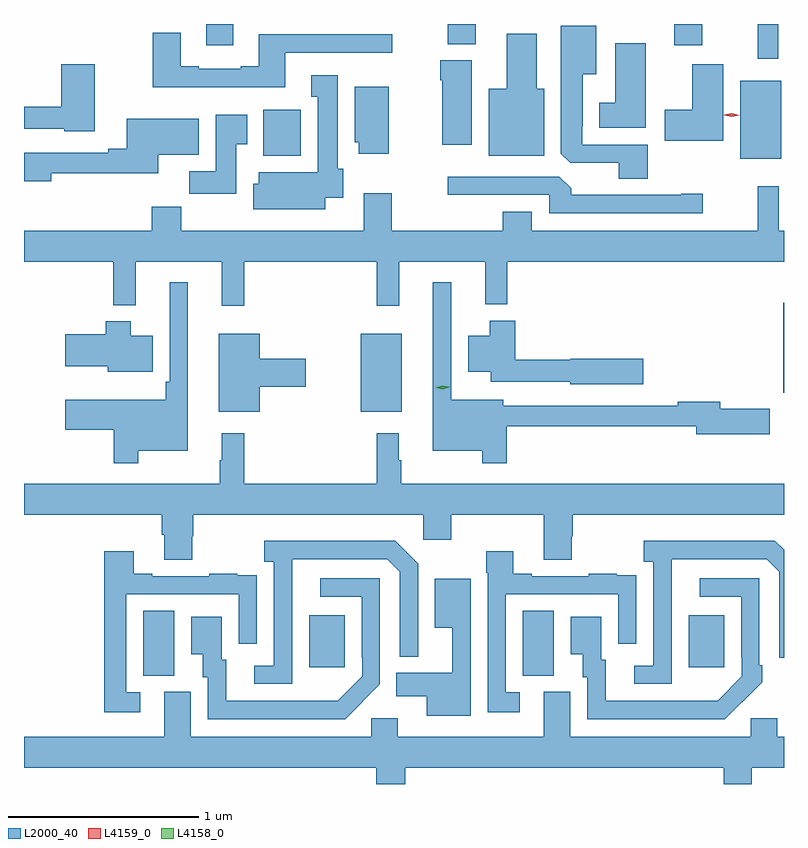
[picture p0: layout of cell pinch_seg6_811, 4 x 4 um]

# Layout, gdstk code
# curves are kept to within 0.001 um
import gdstk
lib = gdstk.Library(unit=1e-6, precision=1e-09)
def R(c, l, rs):  # rectangles x0, y0, x1, y1
    for r in rs: c.add(gdstk.rectangle(r[:2], r[2:], *l))
def P(c, l, *ps):  # polygons
    for p in ps: c.add(gdstk.Polygon(p, *l))
L2000_40 = (2000, 40)
L4158_0 = (4158, 0)
L4159_0 = (4159, 0)

pinch_seg6_811 = lib.new_cell('pinch_seg6_811')
R(pinch_seg6_811, L2000_40, [(120.698,977.125,120.862,977.468), (122.696,977.125,122.86,977.468), (121.571,977.169,121.759,977.443), (123.569,977.169,123.757,977.443), (121.844,978.515,122.059,978.925), (124.068,978.613,124.071,979.088), (123.842,979.847,124.057,980.257), (121.331,979.862,121.528,980.104), (123.933,980.373,124.042,980.555), (121.031,980.442,121.171,980.555), (123.494,980.442,123.642,980.555), (122.302,980.449,122.449,980.555)])
P(pinch_seg6_811, L2000_40, [(123.353,979.92),(123.009,979.92),(123.009,980.017),(123.013,980.017),(123.013,980.291),(123.082,980.291),(123.082,980.545),(122.897,980.545),(122.897,979.873),(122.946,979.824),(123.2,979.824),(123.2,979.741),(123.353,979.741)],
  [(121.447,980.403),(122.008,980.403),(122.008,980.5),(121.307,980.5),(121.307,980.332),(121.211,980.332),(121.211,980.319),(120.991,980.319),(120.991,980.332),(120.895,980.332),(120.895,980.509),(120.748,980.509),(120.748,980.222),(121.447,980.222)],
  [(122.809,980.215),(122.77,980.215),(122.77,980.503),(122.612,980.503),(122.612,980.215),(122.516,980.215),(122.516,979.862),(122.809,979.862)],
  [(123.343,980.455),(123.182,980.455),(123.182,980.14),(123.098,980.14),(123.098,980.009),(123.343,980.009)],
  [(122.428,980.364),(122.261,980.364),(122.261,980.258),(122.273,980.258),(122.273,979.92),(122.428,979.92)],
  [(123.751,980.344),(123.587,980.344),(123.587,980.103),(123.444,980.103),(123.444,979.94),(123.751,979.94)],
  [(120.444,980.344),(120.266,980.344),(120.266,980.12),(120.071,980.12),(120.071,980.004),(120.282,980.004),(120.282,979.991),(120.444,979.991)],
  [(121.657,979.64),(121.75,979.64),(121.75,979.794),(121.723,979.794),(121.723,980.284),(121.583,980.284),(121.583,980.171),(121.616,980.171),(121.616,979.774),(121.307,979.774),(121.307,979.715),(121.277,979.715),(121.277,979.58),(121.657,979.58)],
  [(121.99,980.224),(121.811,980.224),(121.811,979.932),(121.832,979.932),(121.832,979.872),(121.99,979.872)],
  [(121.189,979.921),(121.246,979.921),(121.246,980.077),(121.079,980.077),(121.079,979.78),(120.94,979.78),(120.94,979.662),(121.189,979.662)],
  [(120.214,979.77),(120.778,979.77),(120.778,979.868),(120.991,979.868),(120.991,980.056),(120.611,980.056),(120.611,979.898),(120.515,979.898),(120.515,979.878),(120.071,979.878),(120.071,979.727),(120.214,979.727)],
  [(123.643,979.661),(123.53,979.661),(123.53,979.656),(122.951,979.656),(122.951,979.69),(122.889,979.752),(122.301,979.752),(122.301,979.656),(122.835,979.656),(122.835,979.56),(123.643,979.56)],
  [(121.229,979.304),(121.927,979.304),(121.927,979.071),(122.045,979.071),(122.045,979.304),(122.498,979.304),(122.498,979.079),(122.615,979.079),(122.615,979.304),(124.071,979.304),(124.071,979.468),(124.043,979.468),(124.043,979.702),(123.933,979.702),(123.933,979.468),(122.743,979.468),(122.743,979.567),(122.591,979.567),(122.591,979.468),(122.007,979.468),(122.007,979.663),(121.859,979.663),(121.859,979.468),(120.899,979.468),(120.899,979.592),(120.743,979.592),(120.743,979.468),(120.071,979.468),(120.071,979.304),(120.541,979.304),(120.541,979.076),(120.659,979.076),(120.659,979.304),(121.112,979.304),(121.112,979.071),(121.229,979.071)],
  [(120.673,978.308),(120.934,978.308),(120.934,979.195),(120.837,979.195),(120.837,978.673),(120.817,978.673),(120.817,978.577),(120.288,978.577),(120.288,978.419),(120.544,978.419),(120.544,978.243),(120.673,978.243)],
  [(122.612,978.438),(123.608,978.438),(123.608,978.395),(123.997,978.395),(123.997,978.53),(123.736,978.53),(123.736,978.566),(123.512,978.566),(123.512,978.546),(122.593,978.546),(122.593,978.577),(122.319,978.577),(122.319,979.195),(122.222,979.195),(122.222,978.308),(122.484,978.308),(122.484,978.243),(122.612,978.243)],
  [(123.331,978.794),(122.946,978.794),(122.946,978.788),(122.657,978.788),(122.657,978.994),(122.522,978.994),(122.522,978.913),(122.408,978.913),(122.408,978.725),(122.528,978.725),(122.528,978.672),(122.946,978.672),(122.946,978.659),(123.331,978.659)],
  [(120.748,978.913),(120.634,978.913),(120.634,978.991),(120.5,978.991),(120.5,978.921),(120.288,978.921),(120.288,978.755),(120.512,978.755),(120.512,978.725),(120.748,978.725)],
  [(121.312,978.647),(121.555,978.647),(121.555,978.794),(121.312,978.794),(121.312,978.925),(121.097,978.925),(121.097,978.515),(121.312,978.515)],
  [(122.056,978.26),(122.044,978.26),(122.044,978.4),(121.927,978.4),(121.927,978.136),(121.229,978.136),(121.229,978.4),(121.112,978.4),(121.112,978.26),(121.101,978.26),(121.101,978.136),(120.071,978.136),(120.071,977.972),(120.797,977.972),(120.797,977.866),(120.809,977.866),(120.809,977.734),(120.957,977.734),(120.957,977.859),(120.962,977.859),(120.962,977.972),(122.172,977.972),(122.172,977.841),(122.319,977.841),(122.319,977.972),(122.807,977.972),(122.807,977.734),(122.955,977.734),(122.955,977.859),(122.96,977.859),(122.96,977.972),(124.071,977.972),(124.071,978.136),(122.056,978.136)],
  [(123.48,977.539),(123.481,977.739),(123.981,977.739),(124.047,977.673),(124.047,977.22),(124.071,977.22),(124.071,977.787),(124.022,977.836),(123.333,977.836),(123.333,977.726),(123.384,977.726),(123.384,977.178),(123.282,977.178),(123.282,977.082),(123.48,977.082)],
  [(121.482,977.539),(121.483,977.739),(121.983,977.739),(122.049,977.673),(122.049,977.225),(122.145,977.225),(122.145,977.715),(122.024,977.836),(121.335,977.836),(121.335,977.726),(121.386,977.726),(121.386,977.178),(121.284,977.178),(121.284,977.082),(121.482,977.082)],
  [(120.682,977.037),(120.609,977.037),(120.609,977.553),(121.2,977.553),(121.2,977.292),(121.296,977.292),(121.296,977.546),(121.295,977.546),(121.295,977.655),(121.193,977.655),(121.193,977.662),(121.045,977.662),(121.045,977.649),(120.745,977.649),(120.745,977.662),(120.649,977.662),(120.649,977.779),(120.493,977.779),(120.493,976.932),(120.682,976.932)],
  [(122.68,977.037),(122.607,977.037),(122.607,977.553),(123.198,977.553),(123.198,977.292),(123.294,977.292),(123.294,977.546),(123.293,977.546),(123.293,977.655),(123.191,977.655),(123.191,977.662),(123.043,977.662),(123.043,977.649),(122.743,977.649),(122.743,977.662),(122.647,977.662),(122.647,977.779),(122.503,977.779),(122.503,977.666),(122.511,977.666),(122.511,976.932),(122.68,976.932)],
  [(123.851,976.987),(123.852,976.986),(123.957,977.091),(123.957,977.179),(123.942,977.179),(123.942,977.637),(123.627,977.637),(123.627,977.541),(123.846,977.541),(123.846,977.221),(123.849,977.221),(123.849,977.121),(123.721,976.993),(123.133,976.992),(123.133,977.208),(123.109,977.208),(123.109,977.434),(122.948,977.434),(122.948,977.237),(123.011,977.237),(123.011,977.118),(123.036,977.118),(123.036,976.896),(123.76,976.896)],
  [(121.853,976.987),(121.852,976.988),(121.944,977.079),(121.944,977.637),(121.629,977.637),(121.629,977.541),(121.848,977.541),(121.848,977.221),(121.851,977.221),(121.851,977.121),(121.723,976.993),(121.135,976.992),(121.135,977.208),(121.111,977.208),(121.111,977.434),(120.95,977.434),(120.95,977.237),(121.013,977.237),(121.013,977.118),(121.038,977.118),(121.038,976.896),(121.762,976.896)],
  [(122.421,977.635),(122.234,977.635),(122.234,977.378),(122.324,977.378),(122.324,977.14),(122.029,977.14),(122.029,977.018),(122.192,977.018),(122.192,976.913),(122.421,976.913)],
  [(122.077,976.64),(123.754,976.64),(123.754,976.555),(123.901,976.555),(123.901,976.64),(124.071,976.64),(124.071,976.804),(124.036,976.804),(124.036,976.902),(123.897,976.902),(123.897,976.804),(122.947,976.804),(122.947,977.04),(122.807,977.04),(122.807,976.804),(122.038,976.804),(122.038,976.902),(121.899,976.902),(121.899,976.804),(120.949,976.804),(120.949,977.04),(120.809,977.04),(120.809,976.804),(120.071,976.804),(120.071,976.64),(121.925,976.64),(121.925,976.555),(122.077,976.555)])
P(pinch_seg6_811, L4158_0, [(122.274,978.632),(122.238,978.64),(122.237,978.64),(122.238,978.64),(122.272,978.652),(122.309,978.645),(122.309,978.644),(122.309,978.644)])
P(pinch_seg6_811, L4159_0, [(123.796,980.066),(123.756,980.076),(123.756,980.076),(123.756,980.077),(123.796,980.086),(123.836,980.075),(123.836,980.075),(123.836,980.075)])

lib.write_gds('pinch_seg6_811.gds')
